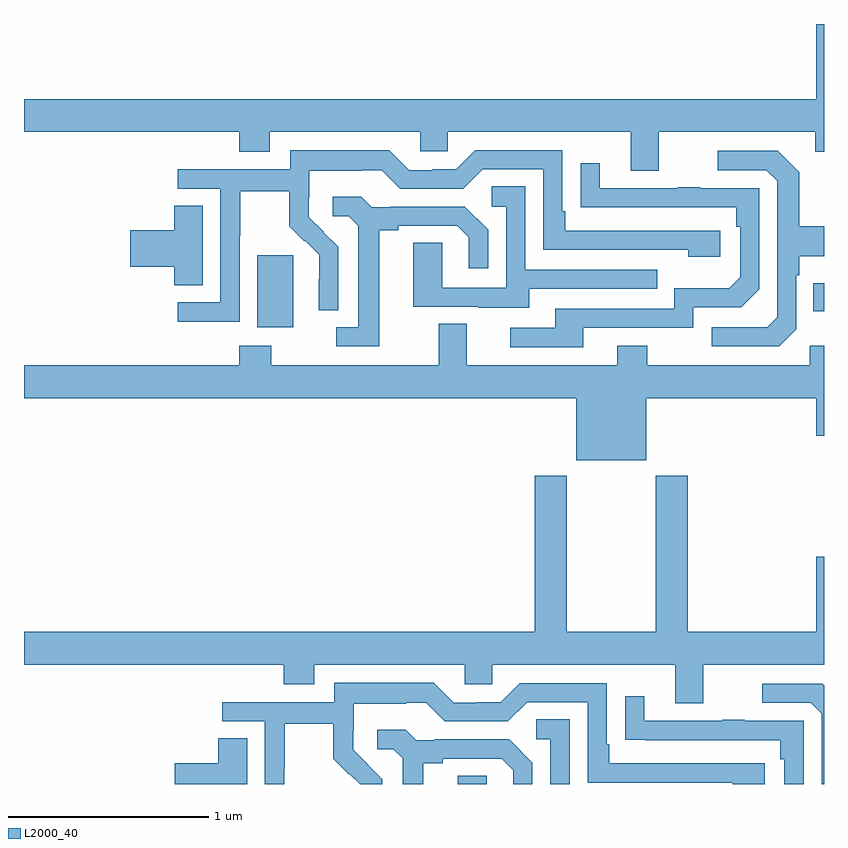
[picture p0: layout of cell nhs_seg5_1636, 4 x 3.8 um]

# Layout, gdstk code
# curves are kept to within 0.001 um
import gdstk
lib = gdstk.Library(unit=1e-6, precision=1e-09)
def R(c, l, rs):  # rectangles x0, y0, x1, y1
    for r in rs: c.add(gdstk.rectangle(r[:2], r[2:], *l))
def P(c, l, *ps):  # polygons
    for p in ps: c.add(gdstk.Polygon(p, *l))
L2000_40 = (2000, 40)

nhs_seg5_1636 = lib.new_cell('nhs_seg5_1636')
R(nhs_seg5_1636, L2000_40, [(211.169,886.799,211.314,886.841), (210.167,889.082,210.346,889.443), (212.947,889.163,213,889.303)])
P(nhs_seg5_1636, L2000_40, [(212.173,890.06),(212.957,890.06),(212.957,889.961),(213,889.961),(213,890.599),(212.96,890.599),(212.96,890.224),(209,890.224),(209,890.06),(210.077,890.06),(210.077,889.961),(210.229,889.961),(210.229,890.06),(210.981,890.06),(210.981,889.962),(211.119,889.962),(211.119,890.06),(212.033,890.06),(212.033,889.866),(212.173,889.866)],
  [(210.078,889.54),(210.081,889.54),(210.081,889.764),(210.325,889.764),(210.325,889.589),(210.402,889.512),(210.405,889.515),(210.476,889.445),(210.476,889.322),(210.474,889.322),(210.474,889.168),(210.57,889.168),(210.57,889.486),(210.424,889.634),(210.424,889.731),(210.426,889.731),(210.426,889.865),(210.689,889.865),(210.689,889.869),(210.789,889.869),(210.882,889.776),(211.197,889.776),(211.293,889.872),(211.596,889.872),(211.596,889.47),(212.321,889.47),(212.321,889.436),(212.482,889.436),(212.482,889.566),(211.705,889.566),(211.705,889.663),(211.692,889.663),(211.692,889.968),(211.257,889.968),(211.161,889.872),(211.043,889.872),(211.043,889.869),(210.927,889.869),(210.827,889.969),(210.33,889.969),(210.33,889.872),(209.769,889.872),(209.769,889.776),(209.982,889.776),(209.982,889.209),(209.769,889.209),(209.769,889.111),(210.078,889.111)],
  [(212.862,889.074),(212.862,889.343),(212.875,889.343),(212.875,889.439),(213,889.439),(213,889.587),(212.875,889.587),(212.875,889.859),(212.769,889.965),(212.469,889.965),(212.469,889.869),(212.712,889.869),(212.766,889.815),(212.766,889.134),(212.715,889.083),(212.439,889.083),(212.439,888.987),(212.775,888.987)],
  [(211.795,889.08),(212.346,889.08),(212.346,889.182),(212.586,889.182),(212.676,889.272),(212.676,889.779),(212.381,889.779),(212.381,889.784),(212.269,889.784),(212.269,889.779),(211.879,889.779),(211.879,889.903),(211.783,889.903),(211.783,889.684),(212.56,889.683),(212.56,889.586),(212.58,889.586),(212.58,889.332),(212.527,889.279),(212.25,889.279),(212.25,889.176),(211.655,889.176),(211.655,889.08),(211.431,889.08),(211.431,888.984),(211.795,888.984)],
  [(211.525,889.275),(212.165,889.275),(212.165,889.371),(211.506,889.371),(211.506,889.787),(211.338,889.787),(211.338,889.686),(211.41,889.686),(211.41,889.281),(211.092,889.281),(211.092,889.505),(210.947,889.505),(210.947,889.185),(211.271,889.185),(211.271,889.181),(211.525,889.181)],
  [(210.775,889.568),(210.871,889.568),(210.871,889.59),(211.166,889.59),(211.223,889.533),(211.223,889.377),(211.32,889.377),(211.32,889.57),(211.204,889.686),(210.832,889.686),(210.832,889.683),(210.738,889.683),(210.686,889.735),(210.543,889.735),(210.543,889.638),(210.624,889.638),(210.671,889.591),(210.671,889.083),(210.561,889.083),(210.561,888.987),(210.775,888.987)],
  [(209.893,889.691),(209.75,889.691),(209.75,889.568),(209.532,889.568),(209.532,889.385),(209.75,889.385),(209.75,889.294),(209.893,889.294)],
  [(212.11,888.728),(212.96,888.728),(212.96,888.54),(213,888.54),(213,888.991),(212.928,888.991),(212.928,888.892),(212.115,888.892),(212.115,888.991),(211.967,888.991),(211.967,888.892),(211.213,888.892),(211.213,889.1),(211.073,889.1),(211.073,888.892),(210.237,888.892),(210.237,888.991),(210.077,888.991),(210.077,888.892),(209,888.892),(209,888.728),(211.76,888.728),(211.76,888.419),(212.11,888.419)],
  [(212.395,887.396),(213,887.396),(213,887.935),(212.96,887.935),(212.96,887.56),(212.318,887.56),(212.318,888.34),(212.158,888.34),(212.158,887.56),(211.713,887.56),(211.713,888.34),(211.553,888.34),(211.553,887.56),(209,887.56),(209,887.396),(210.299,887.396),(210.299,887.297),(210.451,887.297),(210.451,887.396),(211.203,887.396),(211.203,887.298),(211.341,887.298),(211.341,887.396),(212.255,887.396),(212.255,887.202),(212.395,887.202)],
  [(210.3,886.876),(210.303,886.876),(210.303,887.1),(210.547,887.1),(210.547,886.925),(210.624,886.848),(210.627,886.851),(210.68,886.799),(210.792,886.799),(210.792,886.822),(210.646,886.97),(210.646,887.067),(210.648,887.067),(210.648,887.201),(210.911,887.201),(210.911,887.205),(211.011,887.205),(211.104,887.112),(211.419,887.112),(211.515,887.208),(211.818,887.208),(211.818,886.806),(212.543,886.806),(212.543,886.799),(212.704,886.799),(212.704,886.902),(211.927,886.902),(211.927,886.999),(211.914,886.999),(211.914,887.304),(211.479,887.304),(211.383,887.208),(211.265,887.208),(211.265,887.205),(211.149,887.205),(211.049,887.305),(210.552,887.305),(210.552,887.208),(209.991,887.208),(209.991,887.112),(210.204,887.112),(210.204,886.799),(210.3,886.799)],
  [(213,887.292),(212.991,887.301),(212.691,887.301),(212.691,887.205),(212.934,887.205),(212.988,887.151),(212.988,886.799),(213,886.799)],
  [(212.898,887.115),(212.603,887.115),(212.603,887.12),(212.491,887.12),(212.491,887.115),(212.101,887.115),(212.101,887.239),(212.005,887.239),(212.005,887.02),(212.107,887.02),(212.107,887.019),(212.782,887.019),(212.782,886.922),(212.802,886.922),(212.802,886.799),(212.898,886.799)],
  [(211.728,887.123),(211.56,887.123),(211.56,887.022),(211.632,887.022),(211.632,886.799),(211.728,886.799)],
  [(210.997,886.904),(211.093,886.904),(211.093,886.926),(211.388,886.926),(211.445,886.869),(211.445,886.799),(211.542,886.799),(211.542,886.906),(211.426,887.022),(211.054,887.022),(211.054,887.019),(210.96,887.019),(210.908,887.071),(210.765,887.071),(210.765,886.974),(210.846,886.974),(210.893,886.927),(210.893,886.799),(210.997,886.799)],
  [(210.115,887.027),(209.972,887.027),(209.972,886.904),(209.754,886.904),(209.754,886.799),(210.115,886.799)])

lib.write_gds('nhs_seg5_1636.gds')
